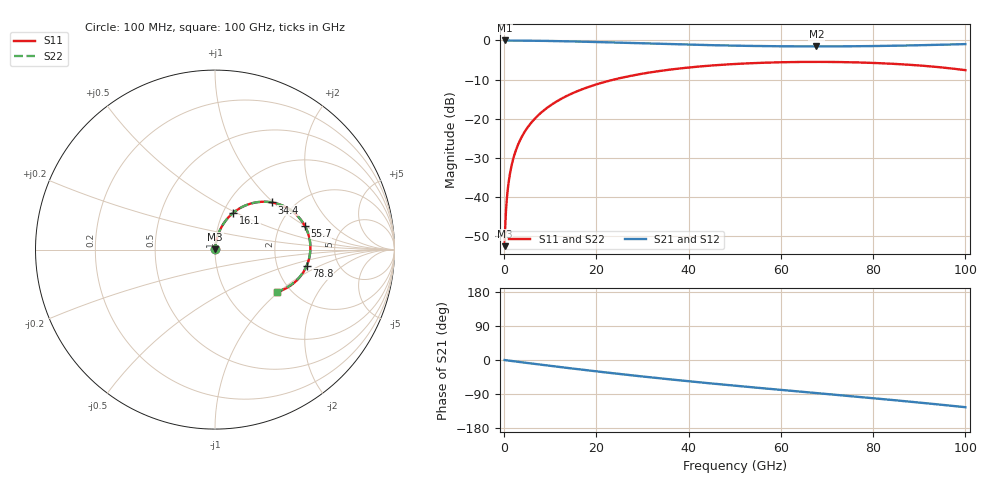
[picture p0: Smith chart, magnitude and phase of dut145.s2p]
! Touchstone file exported from HFSS 2026.1.0
!  File:  C:/ffzhzh/LocalFiles/Ansys_Project_Files/temp_train_RDL_145_1783499823_9504.aedt
!  Generated:  04:38:17 PM Jul  8, 2026
!  Design:  RDL
!  Project:  temp_train_RDL_145_1783499823_9504
! Variables:
!  h_bsmrdl = 2um
!  h_ox = 20um
!  h_rdl = 5um
!  h_sub = 80um
!  h_tmrdl = 4.66um
!  h_tsv = 80um
!  h_via = 3um
!  l_bsmrdl = 300um
!  l_sub = 824.03um
!  l_tmrdl = 424.03um
!  m_sub = 200um
!  pitch = 48.14um
!  r_tsv = 6um
!  s_tmrdl = 10um
!  w_bsmrdl = 18um
!  w_sub = 500um
!  w_tmrdl = 22.01um
!  x_tsv_center1 = 435.035um
!  x_tsv_center2 = 753.035um
!  x_tsv_center3 = 1199.075um
!  x_tsv_center4 = 1517.075um
!  x_tsv_center5 = 1963.115um
!  x_tsv_center6 = 2281.115um
# GHz S MA R 50.000000
! Terminal data exported
! Port[1] = TM_RDL1_1_T1
! Port[2] = TM_RDL1_1_T2
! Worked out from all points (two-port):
!   1000 points, 100 MHz to 100 GHz, reference 50 ohm
!   highest |S21| = -0.01 dB at 100 MHz (marker M1); lowest = -1.5 dB at 67.7 GHz (marker M2)
!   |S21| within 3 dB of the highest: start of sweep to end of sweep
!   lowest |S11| = -52.6 dB at 100 MHz (marker M3), VSWR 1.00, Z = 50.2 + j0.171 ohm
!   |S11| at or under -10 dB: start of sweep to 23.8 GHz
!   |S22| runs from -52.6 to -5.5 dB; largest |S21 - S12| = 1.5e-14
!   S11 on the Smith chart (normalised r, x): 100 MHz: 1.00, +0.00; 16.1 GHz: 1.11, +0.48; 34.4 GHz: 1.55, +0.98; 55.7 GHz: 2.73, +1.00; 78.8 GHz: 2.95, -0.73; 100 GHz: 1.69, -0.97
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0.1  0.002358 46.1  0.9984 -0.2  0.9984 -0.2  0.002358 46.1
! Gamma 0 0 0 0
! Port Impedance 50 0 50 0
0.8  0.01277 79.6  0.9979 -1.3  0.9979 -1.3  0.01277 79.6
1.1  0.01738 81.3  0.9977 -1.8  0.9977 -1.8  0.01738 81.3
1.4  0.022 82.0  0.9975 -2.2  0.9975 -2.2  0.022 82.0
1.9  0.02968 82.3  0.9972 -3.0  0.9972 -3.0  0.02968 82.3
2.4  0.03733 82.2  0.9967 -3.8  0.9967 -3.8  0.03733 82.2
3.8  0.05845 80.7  0.995 -6.0  0.995 -6.0  0.05845 80.7
5.8  0.08787 78.1  0.9918 -9.1  0.9918 -9.1  0.08787 78.1
8.5  0.1264 74.4  0.9865 -13.2  0.9865 -13.2  0.1264 74.4
11.9  0.1731 69.6  0.9785 -18.2  0.9785 -18.2  0.1731 69.7
16.1  0.2276 63.8  0.9664 -24.4  0.9664 -24.4  0.2276 63.8
16.8  0.2362 62.8  0.9642 -25.4  0.9642 -25.4  0.2362 62.8
24.2  0.3204 52.7  0.9388 -35.8  0.9388 -35.8  0.3203 52.8
33.4  0.4044 40.8  0.9054 -47.9  0.9054 -47.9  0.4043 40.9
34.4  0.4121 39.6  0.9019 -49.1  0.9019 -49.1  0.4121 39.7
50.1  0.4999 21.2  0.8566 -67.9  0.8566 -67.9  0.4999 21.3
55.7  0.5172 15.0  0.8465 -74.1  0.8465 -74.1  0.5171 15.1
66.7  0.5317 3.0  0.8376 -86.2  0.8376 -86.2  0.5316 3.2
67.7  0.5317 2.0  0.8375 -87.3  0.8375 -87.3  0.5317 2.2
78.8  0.5187 -10.1  0.8451 -99.5  0.8451 -99.5  0.5186 -9.8
83.4  0.5056 -15.2  0.8526 -104.7  0.8526 -104.7  0.5055 -14.8
100  0.417 -34.7  0.8968 -124.6  0.8968 -124.6  0.417 -34.1
